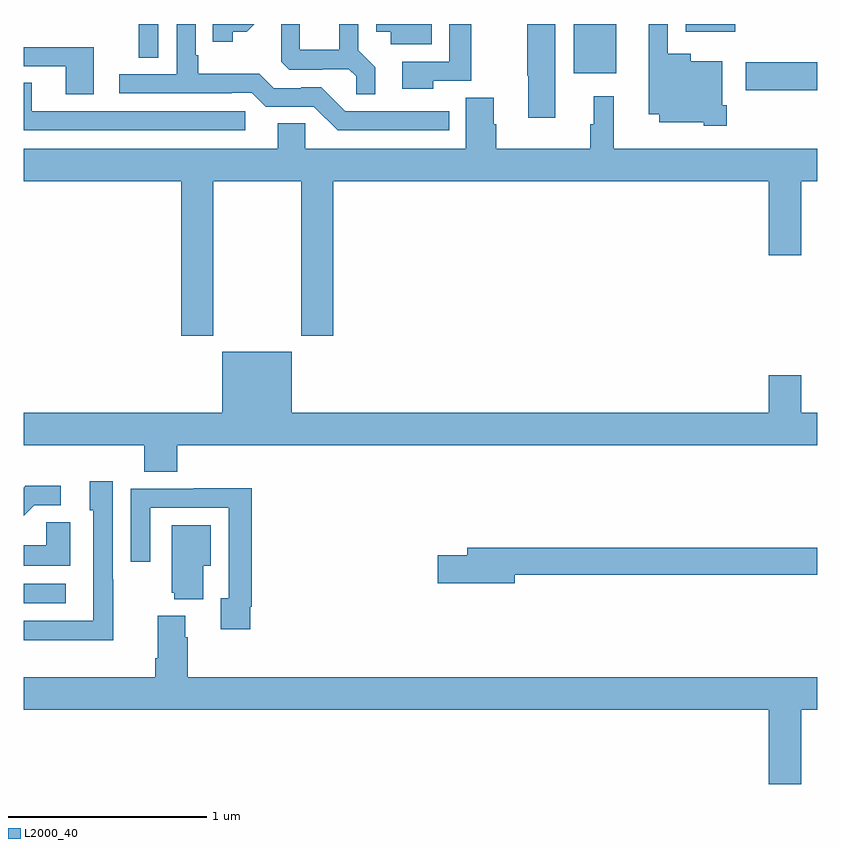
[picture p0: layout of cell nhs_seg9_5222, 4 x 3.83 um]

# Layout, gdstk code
import gdstk
lib = gdstk.Library(unit=1e-6, precision=1e-09)
def R(c, l, rs):  # rectangles x0, y0, x1, y1
    for r in rs: c.add(gdstk.rectangle(r[:2], r[2:], *l))
def P(c, l, *ps):  # polygons
    for p in ps: c.add(gdstk.Polygon(p, *l))
L2000_40 = (2000, 40)

nhs_seg9_5222 = lib.new_cell('nhs_seg9_5222')
R(nhs_seg9_5222, L2000_40, [(413,1239.582,413.212,1239.678), (416.64,1242.166,417,1242.308), (415.772,1242.251,415.987,1242.5), (413.581,1242.331,413.679,1242.5), (416.336,1242.461,416.585,1242.5)])
P(nhs_seg9_5222, L2000_40, [(414.773,1242.281),(414.687,1242.367),(414.687,1242.5),(414.59,1242.5),(414.59,1242.37),(414.392,1242.37),(414.392,1242.5),(414.298,1242.5),(414.298,1242.311),(414.339,1242.27),(414.504,1242.27),(414.504,1242.273),(414.638,1242.273),(414.675,1242.236),(414.675,1242.145),(414.773,1242.145)],
  [(415.057,1242.5),(414.776,1242.5),(414.776,1242.461),(414.851,1242.461),(414.851,1242.398),(415.057,1242.398)],
  [(415.144,1242.06),(414.621,1242.06),(414.501,1242.18),(414.4,1242.18),(414.4,1242.177),(414.261,1242.177),(414.188,1242.25),(413.881,1242.25),(413.881,1242.343),(413.868,1242.343),(413.868,1242.5),(413.772,1242.5),(413.772,1242.246),(413.481,1242.246),(413.481,1242.15),(414.05,1242.15),(414.05,1242.153),(414.15,1242.153),(414.219,1242.084),(414.462,1242.084),(414.582,1241.964),(415.144,1241.964)],
  [(415.065,1242.213),(415.255,1242.213),(415.255,1242.5),(415.146,1242.5),(415.146,1242.309),(414.909,1242.309),(414.909,1242.173),(415.065,1242.173)],
  [(414.054,1242.461),(414.124,1242.461),(414.163,1242.5),(413.953,1242.5),(413.953,1242.411),(414.054,1242.411)],
  [(415.678,1242.5),(415.537,1242.5),(415.537,1242.239),(415.544,1242.239),(415.544,1242.027),(415.678,1242.027)],
  [(416.543,1242.091),(416.521,1242.091),(416.521,1242.313),(416.362,1242.313),(416.362,1242.349),(416.247,1242.349),(416.247,1242.5),(416.15,1242.5),(416.15,1242.044),(416.204,1242.044),(416.204,1242.005),(416.427,1242.005),(416.427,1241.987),(416.543,1241.987)],
  [(413.353,1242.384),(413,1242.384),(413,1242.288),(413.213,1242.288),(413.213,1242.145),(413.353,1242.145)],
  [(414.118,1242.06),(413.041,1242.06),(413.041,1242.203),(413,1242.203),(413,1241.964),(414.118,1241.964)],
  [(416.756,1241.334),(416.92,1241.334),(416.92,1241.708),(417,1241.708),(417,1241.872),(415.974,1241.872),(415.974,1242.136),(415.874,1242.136),(415.874,1241.996),(415.855,1241.996),(415.855,1241.872),(415.382,1241.872),(415.382,1241.994),(415.369,1241.994),(415.369,1242.128),(415.229,1242.128),(415.229,1241.872),(414.42,1241.872),(414.42,1241.999),(414.281,1241.999),(414.281,1241.872),(413,1241.872),(413,1241.708),(413.795,1241.708),(413.795,1240.929),(413.955,1240.929),(413.955,1241.708),(414.4,1241.708),(414.4,1240.929),(414.56,1240.929),(414.56,1241.708),(416.756,1241.708)],
  [(413.774,1240.376),(417,1240.376),(417,1240.54),(416.92,1240.54),(416.92,1240.729),(416.756,1240.729),(416.756,1240.54),(414.352,1240.54),(414.352,1240.849),(414.002,1240.849),(414.002,1240.54),(413,1240.54),(413,1240.376),(413.609,1240.376),(413.609,1240.243),(413.774,1240.243)],
  [(413.451,1239.701),(413.448,1239.701),(413.448,1240.195),(413.333,1240.195),(413.333,1240.05),(413.352,1240.05),(413.352,1239.492),(413,1239.492),(413,1239.395),(413.451,1239.395)],
  [(413.053,1240.074),(413.188,1240.074),(413.188,1240.172),(413.009,1240.172),(413,1240.163),(413,1240.021)],
  [(414.142,1239.562),(414.149,1239.562),(414.149,1240.16),(413.857,1240.16),(413.857,1240.158),(413.541,1240.158),(413.541,1239.789),(413.637,1239.789),(413.637,1240.062),(414.033,1240.062),(414.033,1239.606),(413.993,1239.606),(413.993,1239.45),(414.142,1239.45)],
  [(413.236,1239.989),(413.115,1239.989),(413.115,1239.874),(413,1239.874),(413,1239.77),(413.236,1239.77)],
  [(413.905,1239.77),(413.944,1239.77),(413.944,1239.973),(413.747,1239.973),(413.747,1239.633),(413.759,1239.633),(413.759,1239.602),(413.905,1239.602)],
  [(415.474,1239.724),(417,1239.724),(417,1239.86),(415.235,1239.86),(415.235,1239.824),(415.086,1239.824),(415.086,1239.682),(415.474,1239.682)],
  [(416.92,1239.044),(417,1239.044),(417,1239.208),(413.828,1239.208),(413.828,1239.41),(413.815,1239.41),(413.815,1239.517),(413.675,1239.517),(413.675,1239.304),(413.663,1239.304),(413.663,1239.208),(413,1239.208),(413,1239.044),(416.756,1239.044),(416.756,1238.67),(416.92,1238.67)])

lib.write_gds('nhs_seg9_5222.gds')
